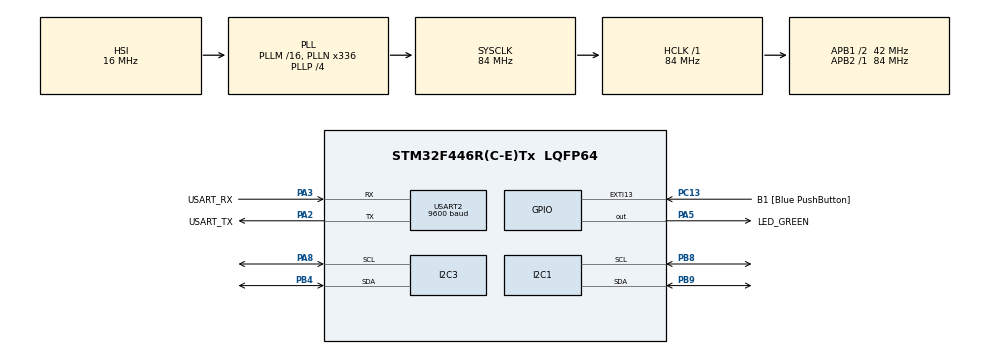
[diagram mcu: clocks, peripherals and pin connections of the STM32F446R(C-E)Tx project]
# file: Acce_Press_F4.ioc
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Mcu.Family=STM32F4
Mcu.Name=STM32F446R(C-E)Tx
Mcu.Package=LQFP64
NVIC.PriorityGroup=NVIC_PRIORITYGROUP_0
NVIC.USART2_IRQn=true\:0\:0\:false\:false\:true\:true\:true
PA13.GPIO_Label=TMS
PA13.Mode=Serial_Wire
PA13.Signal=SYS_JTMS-SWDIO
PA14.GPIO_Label=TCK
PA14.Mode=Serial_Wire
PA14.Signal=SYS_JTCK-SWCLK
PA2.GPIO_Label=USART_TX
PA2.Mode=Asynchronous
PA2.Signal=USART2_TX
PA3.GPIO_Label=USART_RX
PA3.Mode=Asynchronous
PA3.Signal=USART2_RX
PA5.GPIO_Label=LED_GREEN
PA5.Signal=GPIO_Output
PA8.Mode=I2C
PA8.Signal=I2C3_SCL
PB3.GPIO_Label=SWO
PB3.Signal=SYS_JTDO-SWO
PB4.Mode=I2C
PB4.Signal=I2C3_SDA
PB8.Mode=I2C
PB8.Signal=I2C1_SCL
PB9.Mode=I2C
PB9.Signal=I2C1_SDA
PC13.GPIO_Label=B1 [Blue PushButton]
PC13.GPIO_ModeDefaultEXTI=GPIO_MODE_IT_FALLING
PC13.Signal=GPXTI13
PC14-OSC32_IN.Mode=LSE-External-Oscillator
PC14-OSC32_IN.Signal=RCC_OSC32_IN
PC15-OSC32_OUT.Mode=LSE-External-Oscillator
PC15-OSC32_OUT.Signal=RCC_OSC32_OUT
PH0-OSC_IN.Mode=HSE-External-Oscillator
PH0-OSC_IN.Signal=RCC_OSC_IN
PH1-OSC_OUT.Mode=HSE-External-Oscillator
PH1-OSC_OUT.Signal=RCC_OSC_OUT
ProjectManager.HeapSize=0x200
ProjectManager.StackSize=0x400
ProjectManager.TargetToolchain=SW4STM32
RCC.48MHZClocksFreq_Value=84000000
RCC.AHBFreq_Value=84000000
RCC.APB1CLKDivider=RCC_HCLK_DIV2
RCC.APB1Freq_Value=42000000
RCC.APB1TimFreq_Value=84000000
RCC.APB2Freq_Value=84000000
RCC.APB2TimFreq_Value=84000000
RCC.CortexFreq_Value=84000000
RCC.FLatency-AdvancedSettings=FLASH_LATENCY_2
RCC.HCLKFreq_Value=84000000
RCC.HSE_VALUE=8000000
RCC.HSI_VALUE=16000000
RCC.PLLN=336
RCC.PLLP=RCC_PLLP_DIV4
RCC.SYSCLKFreq_VALUE=84000000
RCC.SYSCLKSource=RCC_SYSCLKSOURCE_PLLCLK
RCC.USBFreq_Value=168000000
RCC.VCOOutputFreq_Value=336000000
USART2.BaudRate=9600
USART2.VirtualMode=VM_ASYNC
board=NUCLEO-F446RE

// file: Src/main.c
/* USER CODE BEGIN Header */
/**
  ******************************************************************************
  * @file           : main.c
  * @brief          : Main program body
  ******************************************************************************
  * @attention
  *
  * <h2><center>&copy; Copyright (c) 2019 STMicroelectronics.
  * All rights reserved.</center></h2>
  *
  * This software component is licensed by ST under BSD 3-Clause license,
  * the "License"; You may not use this file except in compliance with the
  * License. You may obtain a copy of the License at:
  *                        opensource.org/licenses/BSD-3-Clause
  *
  ******************************************************************************
  */
/* USER CODE END Header */

#include "main.h"
#include "i2c.h"
#include "usart.h"
#include "gpio.h"

/* USER CODE BEGIN Includes */

#include <string.h>
#include <stdio.h>
#include "mpu6500.h"
#include "MS5837-30BA.h"

/* USER CODE END Includes */

/* USER CODE BEGIN PM */

#define Accelerometer_Address		0xD0
//#define Pressure_Address

/* USER CODE END PM */

/* USER CODE BEGIN PV */

char msg[300];

float ax, ay, az, gx, gy, gz, temperature, roll, pitch;
int16_t acc_x, acc_y, acc_z, gyr_x, gyr_y, gry_z;
uint8_t buffer[128];

/* USER CODE END PV */

void SystemClock_Config(void);
/* USER CODE BEGIN PFP */

void uart3_send_msg(char * msg_to_send){
	HAL_UART_Transmit(&huart2, (uint8_t *) msg_to_send, strlen(msg_to_send), 1000);
}

/* USER CODE END PFP */

int main(void)
{

  /* MCU Configuration--------------------------------------------------------*/

  /* Reset of all peripherals, Initializes the Flash interface and the Systick. */
  HAL_Init();

  /* Configure the system clock */
  SystemClock_Config();

  /* Initialize all configured peripherals */
  MX_GPIO_Init();
  MX_I2C1_Init();
  MX_USART2_UART_Init();
  MX_I2C3_Init();
  /* USER CODE BEGIN 2 */

  sprintf(msg, "Tu F4!!!\r\n");
  uart3_send_msg(msg);

  // make sure that devices is ready
  // 1. Scan the I2C1 addresses
  for( int i = 0; i < 255; i++){

	  if (HAL_I2C_IsDeviceReady(&hi2c1, i, 1, 10) == HAL_OK){

	  	  HAL_GPIO_TogglePin(LED_GREEN_GPIO_Port, LED_GREEN_Pin);
	  	  sprintf(msg, "Accelerometer address : %x\r\n", i);
	  	  uart3_send_msg(msg);
	  	  break;
	  }

  }

  // 1. Scan the I2C3 addresses
  for( int i = 0; i < 255; i++){

	  if (HAL_I2C_IsDeviceReady(&hi2c3, i, 1, 10) == HAL_OK){

	  	  HAL_GPIO_TogglePin(LED_GREEN_GPIO_Port, LED_GREEN_Pin);
	  	  sprintf(msg, "Pressure address : %x\r\n", i);
	  	  uart3_send_msg(msg);
	  	  break;
	  }

  }

  MPU6500_Init(&hi2c1);
  MS5837_Init(&hi2c3);

  /* USER CODE END 2 */

  /* Infinite loop */
  /* USER CODE BEGIN WHILE */
  while (1)
  {

		MPU6500_GetAccelerometerScaled(&ax, &ay, &az);
		MPU6500_GetGyroscopeScaled(&gx, &gy, &gz);
		MPU6500_GetRollPitch(&roll, &pitch);

		memset(msg, 0, sizeof(msg));
		sprintf(msg,
				"\r\nACC: X: %.2f Y:%.2f Z:%.2f  GYR: X: %.2f Y:%.2f Z:%.2f  RPY: Roll: %.2f Pitch: %.2f  Press : %f [mbar] Temp : %f [C]",
				ax, ay, az, gx, gy, gz, roll, pitch, MS5837_Pressure(&hi2c3), MS5837_Temperature(&hi2c3));
		uart3_send_msg(msg);

	  HAL_Delay(1000);

    /* USER CODE END WHILE */

  }
}

void SystemClock_Config(void)
{
  RCC_OscInitTypeDef RCC_OscInitStruct = {0};
  RCC_ClkInitTypeDef RCC_ClkInitStruct = {0};

  /** Configure the main internal regulator output voltage
  */
  __HAL_RCC_PWR_CLK_ENABLE();
  __HAL_PWR_VOLTAGESCALING_CONFIG(PWR_REGULATOR_VOLTAGE_SCALE3);
  /** Initializes the CPU, AHB and APB busses clocks
  */
  RCC_OscInitStruct.OscillatorType = RCC_OSCILLATORTYPE_HSI;
  RCC_OscInitStruct.HSIState = RCC_HSI_ON;
  RCC_OscInitStruct.HSICalibrationValue = RCC_HSICALIBRATION_DEFAULT;
  RCC_OscInitStruct.PLL.PLLState = RCC_PLL_ON;
  RCC_OscInitStruct.PLL.PLLSource = RCC_PLLSOURCE_HSI;
  RCC_OscInitStruct.PLL.PLLM = 16;
  RCC_OscInitStruct.PLL.PLLN = 336;
  RCC_OscInitStruct.PLL.PLLP = RCC_PLLP_DIV4;
  RCC_OscInitStruct.PLL.PLLQ = 2;
  RCC_OscInitStruct.PLL.PLLR = 2;
  if (HAL_RCC_OscConfig(&RCC_OscInitStruct) != HAL_OK)
  {
    Error_Handler();
  }
  /** Initializes the CPU, AHB and APB busses clocks
  */
  RCC_ClkInitStruct.ClockType = RCC_CLOCKTYPE_HCLK|RCC_CLOCKTYPE_SYSCLK
                              |RCC_CLOCKTYPE_PCLK1|RCC_CLOCKTYPE_PCLK2;
  RCC_ClkInitStruct.SYSCLKSource = RCC_SYSCLKSOURCE_PLLCLK;
  RCC_ClkInitStruct.AHBCLKDivider = RCC_SYSCLK_DIV1;
  RCC_ClkInitStruct.APB1CLKDivider = RCC_HCLK_DIV2;
  RCC_ClkInitStruct.APB2CLKDivider = RCC_HCLK_DIV1;

  if (HAL_RCC_ClockConfig(&RCC_ClkInitStruct, FLASH_LATENCY_2) != HAL_OK)
  {
    Error_Handler();
  }
}

void Error_Handler(void)
{
}

/************************ (C) COPYRIGHT STMicroelectronics *****END OF FILE****/
